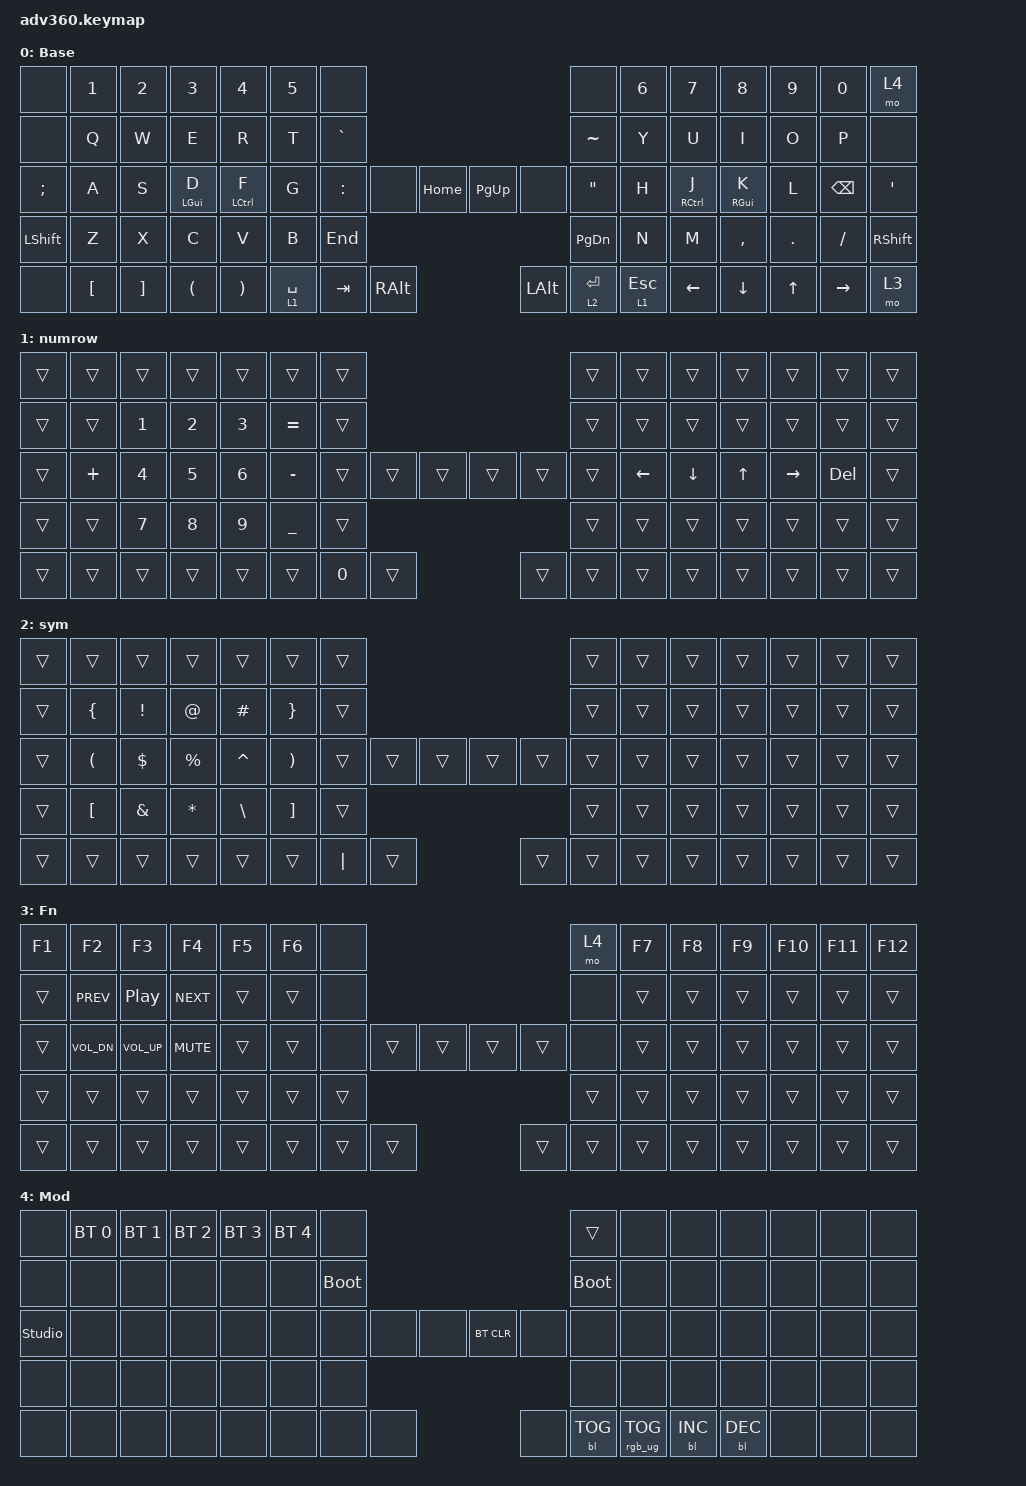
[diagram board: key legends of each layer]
#include <dt-bindings/zmk/stp.h>
#include <behaviors.dtsi>
#include <dt-bindings/zmk/backlight.h>
#include <dt-bindings/zmk/bt.h>
#include <dt-bindings/zmk/keys.h>
#include <dt-bindings/zmk/rgb.h>

/ {
    behaviors {
        #include "macros.dtsi"
      #include "version.dtsi"

        hm: homerow_mods {
            compatible = "zmk,behavior-hold-tap";
            label = "HOMEROW_MODS";
            #binding-cells = <2>;
            tapping-term-ms = <170>;
            flavor = "tap-preferred";
            bindings = <&kp>, <&kp>;

            quick-tap-ms = <100>;
        };
    };

    keymap {
        compatible = "zmk,keymap";

        default_layer {
            display-name = "Base";
            bindings = <
&none          &kp N1            &kp N2             &kp N3                &kp N4                 &kp N5  &none                                                             &none              &kp N6  &kp N7          &kp N8           &kp N9        &kp N0           &mo 4
&none          &kp Q             &kp W              &kp E                 &kp R                  &kp T   &kp GRAVE                                                         &kp TILDE          &kp Y   &kp U           &kp I            &kp O         &kp P            &none
&kp SEMICOLON  &kp A             &kp S              &hm LGUI D            &hm LCTRL F            &kp G   &kp COLON    &none      &kp HOME       &kp PAGE_UP   &none        &kp DOUBLE_QUOTES  &kp H   &hm RCTRL J     &hm RGUI K  &kp L         &kp BACKSPACE    &kp SQT
&kp LSHIFT     &kp Z             &kp X              &kp C                 &kp V                  &kp B                           &kp END        &kp PAGE_DOWN                                 &kp N   &kp M           &kp COMMA        &kp DOT       &kp FSLH         &kp RSHFT
&none          &kp LEFT_BRACKET  &kp RIGHT_BRACKET  &kp LEFT_PARENTHESIS  &kp RIGHT_PARENTHESIS          &lt 1 SPACE  &kp TAB    &kp RALT       &kp LALT      &lt 2 ENTER  &lt 1 ESCAPE       &kp LEFT_ARROW  &kp DOWN_ARROW   &kp UP_ARROW  &kp RIGHT_ARROW  &mo 3
            >;
        };

        numrow {
            bindings = <
&trans  &trans    &trans  &trans  &trans  &trans     &trans                                      &trans  &trans          &trans    &trans        &trans     &trans      &trans
&trans  &trans    &kp N1  &kp N2  &kp N3  &kp EQUAL  &trans                                      &trans  &trans          &trans    &trans        &trans     &trans      &trans
&trans  &kp PLUS  &kp N4  &kp N5  &kp N6  &kp MINUS  &trans  &trans  &trans      &trans  &trans  &trans  &kp LEFT_ARROW  &kp DOWN  &kp UP_ARROW  &kp RIGHT  &kp DELETE  &trans
&trans  &trans    &kp N7  &kp N8  &kp N9  &kp UNDER                  &trans      &trans                  &trans          &trans    &trans        &trans     &trans      &trans
&trans  &trans    &trans  &trans  &trans             &trans  &kp N0  &trans      &trans  &trans  &trans                  &trans    &trans        &trans     &trans      &trans
            >;
        };

        sym {
            bindings = <
&trans  &trans                &trans           &trans        &trans         &trans                 &trans                                        &trans  &trans  &trans  &trans  &trans  &trans  &trans
&trans  &kp LEFT_BRACE        &kp EXCLAMATION  &kp AT        &kp HASH       &kp RIGHT_BRACE        &trans                                        &trans  &trans  &trans  &trans  &trans  &trans  &trans
&trans  &kp LEFT_PARENTHESIS  &kp DOLLAR       &kp PERCENT   &kp CARET      &kp RIGHT_PARENTHESIS  &trans  &trans    &trans      &trans  &trans  &trans  &trans  &trans  &trans  &trans  &trans  &trans
&trans  &kp LEFT_BRACKET      &kp AMPERSAND    &kp ASTERISK  &kp BACKSLASH  &kp RIGHT_BRACKET                        &trans      &trans                  &trans  &trans  &trans  &trans  &trans  &trans
&trans  &trans                &trans           &trans        &trans                                &trans  &kp PIPE  &trans      &trans  &trans  &trans          &trans  &trans  &trans  &trans  &trans
            >;
        };

        fn {
            display-name = "Fn";
            bindings = <
&kp F1  &kp F2        &kp F3            &kp F4      &kp F5  &kp F6  &none                                       &mo 4   &kp F7  &kp F8  &kp F9  &kp F10  &kp F11  &kp F12
&trans  &kp C_PREV    &kp C_PLAY_PAUSE  &kp C_NEXT  &trans  &trans  &none                                       &none   &trans  &trans  &trans  &trans   &trans   &trans
&trans  &kp C_VOL_DN  &kp C_VOL_UP      &kp C_MUTE  &trans  &trans  &none   &trans  &trans      &trans  &trans  &none   &trans  &trans  &trans  &trans   &trans   &trans
&trans  &trans        &trans            &trans      &trans  &trans                  &trans      &trans                  &trans  &trans  &trans  &trans   &trans   &trans
&trans  &trans        &trans            &trans      &trans          &trans  &trans  &trans      &trans  &trans  &trans          &trans  &trans  &trans   &trans   &trans
            >;
        };

        bt {
            display-name = "Mod";
            bindings = <
&none           &bt BT_SEL 0  &bt BT_SEL 1  &bt BT_SEL 2  &bt BT_SEL 3  &bt BT_SEL 4  &none                                                  &trans           &none  &none       &none       &none  &none  &none
&none           &none         &none         &none         &none         &none         &bootloader                                            &bootloader      &none  &none       &none       &none  &none  &none
&studio_unlock  &none         &none         &none         &none         &none         &none        &none  &none      &bt BT_CLR  &none       &none            &none  &none       &none       &none  &none  &none
&none           &none         &none         &none         &none         &none                             &none      &none                                    &none  &none       &none       &none  &none  &none
&none           &none         &none         &none         &none                       &none        &none  &none      &none       &bl BL_TOG  &rgb_ug RGB_TOG         &bl BL_INC  &bl BL_DEC  &none  &none  &none
            >;
        };
    };
};
